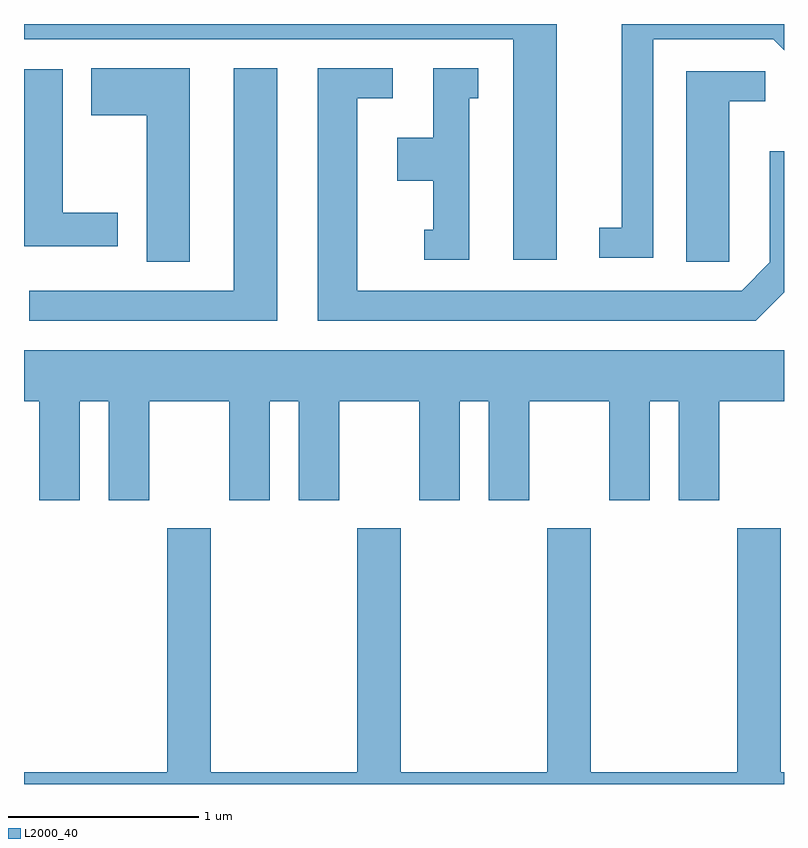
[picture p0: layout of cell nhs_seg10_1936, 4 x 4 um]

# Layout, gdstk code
import gdstk
lib = gdstk.Library(unit=1e-6, precision=1e-09)
def P(c, l, *ps):  # polygons
    for p in ps: c.add(gdstk.Polygon(p, *l))
L2000_40 = (2000, 40)

nhs_seg10_1936 = lib.new_cell('nhs_seg10_1936')
P(nhs_seg10_1936, L2000_40, [(244.414,2162.522),(241.611,2162.522),(241.611,2162.441),(244.186,2162.441),(244.186,2161.281),(244.414,2161.281)],
  [(244.924,2162.441),(245.554,2162.441),(245.611,2162.384),(245.611,2162.522),(244.756,2162.522),(244.756,2161.449),(244.638,2161.449),(244.638,2161.291),(244.924,2161.291)],
  [(245.611,2161.11),(245.611,2161.853),(245.536,2161.853),(245.536,2161.267),(245.389,2161.119),(243.364,2161.119),(243.364,2162.131),(243.553,2162.131),(243.553,2162.289),(243.156,2162.289),(243.156,2160.961),(245.462,2160.961)],
  [(243.954,2162.131),(244.003,2162.131),(244.003,2162.289),(243.766,2162.289),(243.766,2161.924),(243.576,2161.924),(243.576,2161.696),(243.766,2161.696),(243.766,2161.439),(243.718,2161.439),(243.718,2161.281),(243.954,2161.281)],
  [(242.944,2162.289),(242.716,2162.289),(242.716,2161.119),(241.638,2161.119),(241.638,2160.961),(242.944,2160.961)],
  [(242.484,2162.289),(241.966,2162.289),(241.966,2162.041),(242.256,2162.041),(242.256,2161.271),(242.484,2161.271)],
  [(242.104,2161.529),(241.814,2161.529),(241.814,2162.284),(241.611,2162.284),(241.611,2161.351),(242.104,2161.351)],
  [(245.324,2162.116),(245.513,2162.116),(245.513,2162.274),(245.096,2162.274),(245.096,2161.271),(245.324,2161.271)],
  [(241.904,2160.536),(242.056,2160.536),(242.056,2160.016),(242.269,2160.016),(242.269,2160.536),(242.691,2160.536),(242.691,2160.016),(242.904,2160.016),(242.904,2160.536),(243.056,2160.536),(243.056,2160.016),(243.269,2160.016),(243.269,2160.536),(243.691,2160.536),(243.691,2160.016),(243.904,2160.016),(243.904,2160.536),(244.056,2160.536),(244.056,2160.016),(244.269,2160.016),(244.269,2160.536),(244.691,2160.536),(244.691,2160.016),(244.904,2160.016),(244.904,2160.536),(245.056,2160.536),(245.056,2160.016),(245.269,2160.016),(245.269,2160.536),(245.611,2160.536),(245.611,2160.804),(241.611,2160.804),(241.611,2160.536),(241.691,2160.536),(241.691,2160.016),(241.904,2160.016)],
  [(245.611,2158.584),(245.594,2158.584),(245.594,2159.869),(245.366,2159.869),(245.366,2158.584),(244.594,2158.584),(244.594,2159.869),(244.366,2159.869),(244.366,2158.584),(243.594,2158.584),(243.594,2159.869),(243.366,2159.869),(243.366,2158.584),(242.594,2158.584),(242.594,2159.869),(242.366,2159.869),(242.366,2158.584),(241.611,2158.584),(241.611,2158.522),(245.611,2158.522)])

lib.write_gds('nhs_seg10_1936.gds')
